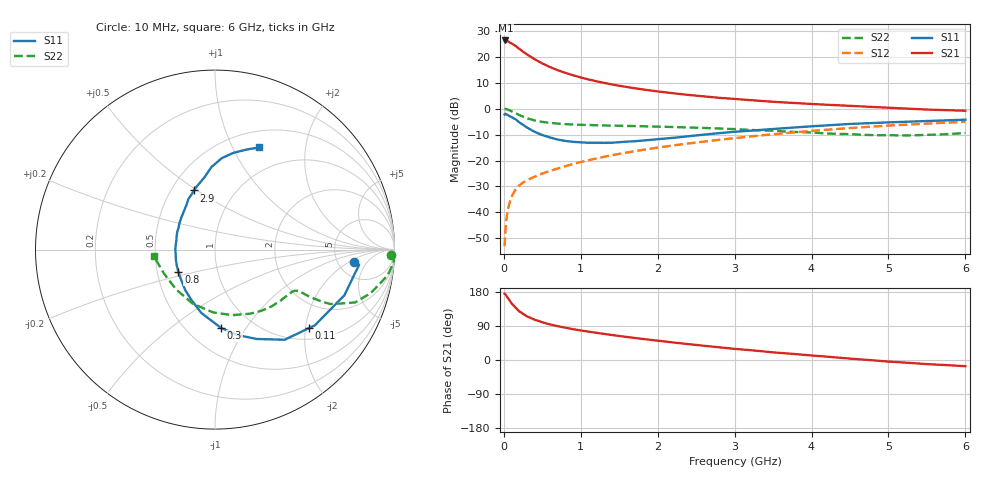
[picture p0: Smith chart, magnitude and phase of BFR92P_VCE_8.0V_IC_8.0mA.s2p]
! Infineon Technologies  Discrete & RF Semiconductors
! BFR92P
! VCE =  8.0 V,  IC =  8.0 mA
! Common Emitter S-Parameters:  Apr 2014
# GHz  S  MA  R  50
!  f  S11  S21  S12  S22
! GHz  MAG  ANG  MAG  ANG  MAG  ANG  MAG  ANG
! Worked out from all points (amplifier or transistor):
!   77 points, 10 MHz to 6 GHz, reference 50 ohm
!   highest |S21| = 26.5 dB at 20 MHz (marker M1)
!   |S21| within 3 dB of that: start of sweep to 189.9 MHz
!   unconditionally stable (mu >= 1): 805.5 MHz to 2.51 GHz
!   at 130 MHz: K = 0.32, MSG = 28.6 dB, |S12| = -32.3 dB
!   at 2.2 GHz: K = 1.02, MAG = 9.2 dB, |S12| = -14.2 dB
!   at 6 GHz: K = 0.85, MSG = 2.1 dB, |S12| = -5.0 dB
!   S11 on the Smith chart (normalised r, x): 10 MHz: 7.15, -2.58; 110 MHz: 1.28, -2.09; 300 MHz: 0.72, -0.78; 800 MHz: 0.64, -0.17; 2.9 GHz: 0.65, +0.49; 6 GHz: 0.69, +1.27
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0.01  0.7801 -5.2  20.82 174.8  0.0022 93.1  0.9805 -1.8
0.02  0.8075 -6.0  21.15 173.2  0.0043 82.7  1 -3.5
0.05  0.7644 -19.5  20.49 164.2  0.0107 81.1  0.9725 -8.5
0.1  0.6986 -37.1  18.51 149.4  0.0198 70.7  0.9022 -15.5
0.11  0.6822 -39.9  18.1 147.4  0.0213 70.0  0.8879 -16.5
0.15  0.6348 -52.3  16.7 138.6  0.0271 67.9  0.8335 -20.7
0.2  0.5495 -65.0  14.56 128.5  0.0329 63.5  0.7597 -23.3
0.25  0.492 -75.3  12.84 121.8  0.0375 62.0  0.7085 -25.3
0.3  0.4374 -85.6  11.36 115.1  0.0414 60.9  0.6587 -26.0
0.4  0.3613 -102.1  9.161 106.2  0.0487 61.2  0.5981 -26.5
0.5  0.3118 -114.5  7.592 99.5  0.056 61.6  0.5613 -26.4
0.6  0.2798 -126.5  6.461 93.9  0.0631 62.9  0.5364 -26.3
0.7  0.2551 -137.1  5.624 89.2  0.07 63.9  0.5203 -26.3
0.8  0.2396 -148.1  4.975 85.2  0.0778 64.1  0.5075 -26.8
1.1  0.221 -172.6  3.72 74.8  0.1012 65.6  0.4883 -29.2
1.5  0.2266 160.6  2.809 63.4  0.1349 65.2  0.4722 -34.0
2.1  0.2668 132.6  2.094 48.7  0.1869 62.2  0.4498 -43.3
2.9  0.3497 109.5  1.599 31.5  0.2619 56.1  0.4117 -59.0
3.1  0.3695 105.4  1.52 27.7  0.2817 54.0  0.399 -64.1
4.1  0.47 91.0  1.225 10.4  0.3848 43.5  0.3416 -95.8
5.1  0.5551 77.8  1.038 -5.4  0.4837 30.2  0.3078 -138.5
6  0.6186 66.9  0.922 -16.3  0.5648 17.8  0.3425 -173.9
